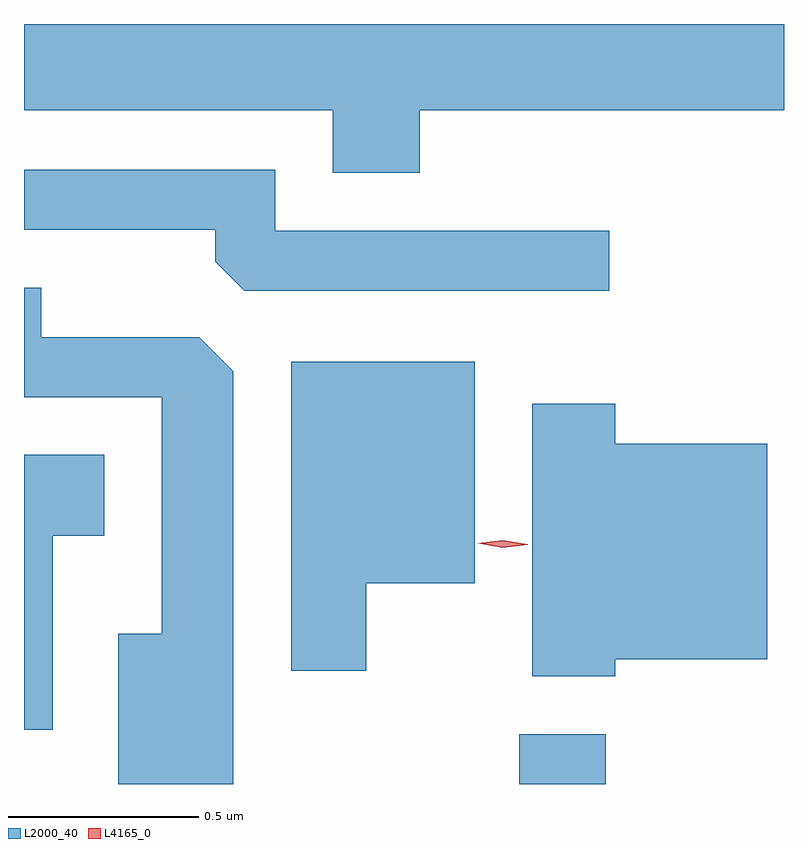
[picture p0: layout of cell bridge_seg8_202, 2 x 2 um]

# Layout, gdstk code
import gdstk
lib = gdstk.Library(unit=1e-6, precision=1e-09)
def R(c, l, rs):  # rectangles x0, y0, x1, y1
    for r in rs: c.add(gdstk.rectangle(r[:2], r[2:], *l))
def P(c, l, *ps):  # polygons
    for p in ps: c.add(gdstk.Polygon(p, *l))
L2000_40 = (2000, 40)
L4165_0 = (4165, 0)

bridge_seg8_202 = lib.new_cell('bridge_seg8_202')
R(bridge_seg8_202, L2000_40, [(1133.951,1896.803,1134.179,1896.934)])
P(bridge_seg8_202, L2000_40, [(1133.689,1898.576),(1134.648,1898.576),(1134.648,1898.803),(1132.648,1898.803),(1132.648,1898.576),(1133.461,1898.576),(1133.461,1898.411),(1133.689,1898.411)],
  [(1134.188,1898.259),(1133.309,1898.259),(1133.309,1898.419),(1132.648,1898.419),(1132.648,1898.261),(1133.151,1898.261),(1133.151,1898.177),(1133.227,1898.101),(1134.188,1898.101)],
  [(1133.199,1897.889),(1133.109,1897.979),(1132.694,1897.979),(1132.694,1898.109),(1132.648,1898.109),(1132.648,1897.821),(1133.011,1897.821),(1133.011,1897.199),(1132.896,1897.199),(1132.896,1896.803),(1133.199,1896.803)],
  [(1133.549,1897.331),(1133.834,1897.331),(1133.834,1897.914),(1133.351,1897.914),(1133.351,1897.101),(1133.549,1897.101)],
  [(1134.204,1897.131),(1134.604,1897.131),(1134.604,1897.699),(1134.204,1897.699),(1134.204,1897.804),(1133.986,1897.804),(1133.986,1897.086),(1134.204,1897.086)],
  [(1132.724,1897.456),(1132.859,1897.456),(1132.859,1897.669),(1132.648,1897.669),(1132.648,1896.946),(1132.724,1896.946)])
P(bridge_seg8_202, L4165_0, [(1133.908,1897.425),(1133.842,1897.436),(1133.842,1897.437),(1133.842,1897.437),(1133.908,1897.445),(1133.974,1897.434),(1133.974,1897.433),(1133.974,1897.433)])

lib.write_gds('bridge_seg8_202.gds')
